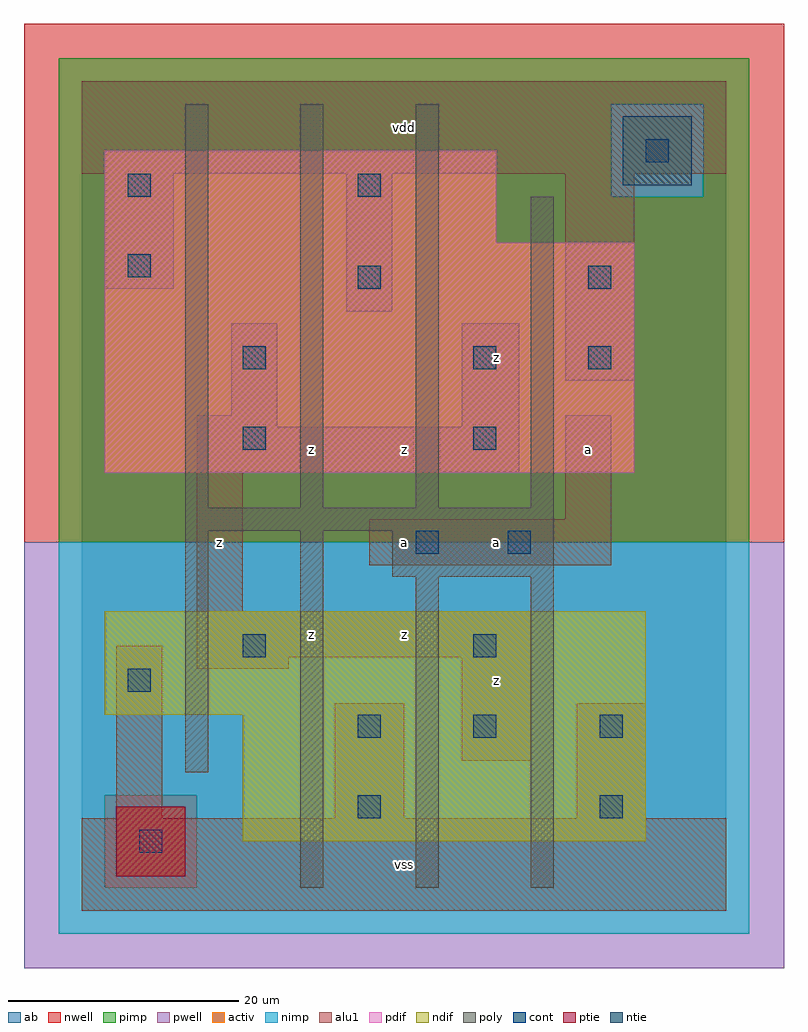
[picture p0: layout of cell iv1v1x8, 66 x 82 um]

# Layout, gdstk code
import gdstk
lib = gdstk.Library(unit=1e-6, precision=1e-09)
def R(c, l, rs):  # rectangles x0, y0, x1, y1
    for r in rs: c.add(gdstk.rectangle(r[:2], r[2:], *l))
def A(c, l, x, y, w, h, nx, ny, dx, dy):  # array of equal rectangles
    R(c, l, [(x+i*dx, y+j*dy, x+i*dx+w, y+j*dy+h) for i in range(nx) for j in range(ny)])
ndif = (3, 0)
pdif = (4, 0)
ntie = (5, 0)
ptie = (6, 0)
cont = (25, 0)
pwell = (41, 0)
nwell = (42, 0)
activ = (43, 0)
pimp = (44, 0)
nimp = (45, 0)
poly = (46, 0)
alu1 = (49, 0)
ab = (63, 0)

iv1v1x8 = lib.new_cell('iv1v1x8')
R(iv1v1x8, ndif, [(14,6,49,17), (2,17,49,26)])
R(iv1v1x8, pdif, [(2,38,48,58), (2,58,36,66)])
R(iv1v1x8, ntie, [(47,63,53,69)])
R(iv1v1x8, ptie, [(3,3,9,9)])
R(iv1v1x8, cont, [(5,5,7,7), (24,8,26,10), (45,8,47,10), (24,15,26,17), (34,15,36,17), (45,15,47,17), (4,19,6,21), (14,22,16,24), (34,22,36,24), (29,31,31,33), (37,31,39,33), (14,40,16,42), (34,40,36,42), (14,47,16,49), (34,47,36,49), (44,47,46,49), (24,54,26,56), (44,54,46,56), (4,55,6,57), (4,62,6,64), (24,62,26,64), (49,65,51,67)])
R(iv1v1x8, pwell, [(-5,-5,61,32)])
R(iv1v1x8, nwell, [(-5,32,61,77)])
R(iv1v1x8, activ, [(3,3,9,9), (14,6,49,17), (2,17,49,26), (2,38,48,58), (2,58,36,66), (47,63,53,69)])
R(iv1v1x8, pimp, [(2,2,10,10), (-2,32,58,62), (-2,62,46,70), (54,62,58,70), (-2,70,58,74)])
R(iv1v1x8, nimp, [(-2,-2,58,2), (-2,2,2,10), (10,2,58,10), (-2,10,58,32), (46,62,54,70)])
A(iv1v1x8, poly, 9, 35, 2, 35, 3, 1, 10, 0)
R(iv1v1x8, poly, [(19,2,21,33), (29,2,31,29), (39,2,41,29), (9,12,11,33), (27,29,41,33), (9,33,41,35), (39,35,41,62)])
R(iv1v1x8, alu1, [(0,0,56,8), (3,8,7,23), (22,8,28,18), (43,8,49,18), (33,13,39,22), (10,21,18,22), (10,22,39,26), (10,26,14,38), (25,30,46,34), (42,34,46,43), (10,38,38,42), (10,42,17,43), (33,42,38,51), (13,43,17,51), (42,46,48,64), (23,52,27,64), (2,54,8,64), (0,64,56,72)])
R(iv1v1x8, ab, [(0,0,56,72)])
iv1v1x8.add(gdstk.Label('z', (12,32), layer=49, texttype=0))
iv1v1x8.add(gdstk.Label('z', (20,24), layer=49, texttype=0))
iv1v1x8.add(gdstk.Label('z', (20,40), layer=49, texttype=0))
iv1v1x8.add(gdstk.Label('vss', (28,4), layer=49, texttype=0))
iv1v1x8.add(gdstk.Label('z', (36,20), layer=49, texttype=0))
iv1v1x8.add(gdstk.Label('z', (28,24), layer=49, texttype=0))
iv1v1x8.add(gdstk.Label('a', (28,32), layer=49, texttype=0))
iv1v1x8.add(gdstk.Label('a', (36,32), layer=49, texttype=0))
iv1v1x8.add(gdstk.Label('z', (28,40), layer=49, texttype=0))
iv1v1x8.add(gdstk.Label('z', (36,48), layer=49, texttype=0))
iv1v1x8.add(gdstk.Label('vdd', (28,68), layer=49, texttype=0))
iv1v1x8.add(gdstk.Label('a', (44,40), layer=49, texttype=0))

lib.write_gds('iv1v1x8.gds')
